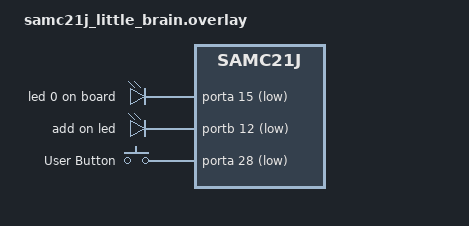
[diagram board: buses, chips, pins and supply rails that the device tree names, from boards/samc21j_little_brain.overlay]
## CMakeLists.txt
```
# SPDX-License-Identifier: Apache-2.0

cmake_minimum_required(VERSION 3.20.0)

list(APPEND BOARD_ROOT ${CMAKE_CURRENT_SOURCE_DIR}/../..)

find_package(Zephyr REQUIRED HINTS $ENV{ZEPHYR_BASE})
project(little_brain)

target_sources(app PRIVATE
    src/main.c
    src/led_utils.c
    src/switch_utils.c
    )
```

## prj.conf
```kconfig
CONFIG_GPIO=y
CONFIG_INPUT=y
CONFIG_LOG=y
```

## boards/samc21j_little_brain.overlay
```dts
/{
	aliases {
		led0 = &led0;
		led1 = &led1;
		sw0 = &sw0;
	};

	leds {
		compatible = "gpio-leds";

		led0: led_0 {
			gpios = <&porta 15 GPIO_ACTIVE_LOW>;
			label = "led 0 on board";
		};

		led1: led_1 {
			gpios = <&portb 12 GPIO_ACTIVE_LOW>;
			label = "add on led";
		};
	};

	buttons {
		compatible = "gpio-keys";

		sw0: button_0 {
			gpios = <&porta 28 (GPIO_PULL_UP | GPIO_ACTIVE_LOW)>;
			label = "User Button";
			zephyr,code = <INPUT_KEY_0>;
		};
	};
};
```

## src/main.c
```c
/*
 * Copyright (c) 2016 Intel Corporation
 *
 * SPDX-License-Identifier: Apache-2.0
 */
#include <stdio.h>
#include <zephyr/drivers/gpio.h>
#include <zephyr/kernel.h>
#include <zephyr/logging/log.h>

LOG_MODULE_REGISTER(main, LOG_LEVEL_DBG);

#define MY_STACK_SIZE 1024
#define PRIORITY 5

#define LED0_SLEEP_MS 500
#define LED1_SLEEP_MS 1000

#define LED0_NODE DT_ALIAS(led0)
#define LED1_NODE DT_ALIAS(led1)

static const struct gpio_dt_spec led0 = GPIO_DT_SPEC_GET(LED0_NODE, gpios);
static const struct gpio_dt_spec led1 = GPIO_DT_SPEC_GET(LED1_NODE, gpios);

static void toggle_led0(void *p1, void *p2, void *p3) {
    ARG_UNUSED(p1);
    ARG_UNUSED(p2);
    ARG_UNUSED(p3);

    if (!gpio_is_ready_dt(&led0)) {
        LOG_ERR("led0 GPIO port not ready");
        return;
    }

    if (gpio_pin_configure_dt(&led0, GPIO_OUTPUT_INACTIVE) < 0) {
        LOG_ERR("failed to configure led0");
        return;
    }

    while (1) {
        gpio_pin_toggle_dt(&led0);
        k_msleep(LED0_SLEEP_MS);
    }
}

static void toggle_led1(void *p1, void *p2, void *p3) {
    ARG_UNUSED(p1);
    ARG_UNUSED(p2);
    ARG_UNUSED(p3);

    if (!gpio_is_ready_dt(&led1)) {
        LOG_ERR("led1 GPIO port not ready");
        return;
    }

    if (gpio_pin_configure_dt(&led1, GPIO_OUTPUT_INACTIVE) < 0) {
        LOG_ERR("failed to configure led1");
        return;
    }

    while (1) {
        gpio_pin_toggle_dt(&led1);
        k_msleep(LED1_SLEEP_MS);
    }
}

K_THREAD_DEFINE(toggle_led0_tid, MY_STACK_SIZE, toggle_led0, NULL, NULL, NULL,
                PRIORITY, 0, 0);

K_THREAD_DEFINE(toggle_led1_tid, MY_STACK_SIZE, toggle_led1, NULL, NULL, NULL,
                PRIORITY, 0, 0);
```

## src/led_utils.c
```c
#include "led_utils.h"

#include <zephyr/drivers/gpio.h>
#include <zephyr/kernel.h>

void led_setup(const struct gpio_dt_spec *led) {
    if (!gpio_is_ready_dt(led)) {
        return;
    }
    gpio_pin_configure_dt(led, GPIO_OUTPUT_INACTIVE);
}

void led_on(const struct gpio_dt_spec *led) {
    gpio_pin_set_dt(led, 1);
}

void led_off(const struct gpio_dt_spec *led) {
    gpio_pin_set_dt(led, 0);
}

void led_toggle(const struct gpio_dt_spec *led) {
    gpio_pin_toggle_dt(led);
}
```

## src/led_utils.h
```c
#ifndef _LED_UTILS_H_
#define _LED_UTILS_H_

#include <zephyr/drivers/gpio.h>

void led_setup(const struct gpio_dt_spec *led);
void led_on(const struct gpio_dt_spec *led);
void led_off(const struct gpio_dt_spec *led);
void led_toggle(const struct gpio_dt_spec *led);

#endif // _LED_UTILS_H_
```

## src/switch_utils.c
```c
#include "switch_utils.h"

#include <zephyr/kernel.h>

void switch_setup(const struct gpio_dt_spec *sw) {
    if (!gpio_is_ready_dt(sw)) {
        return;
    }
    gpio_pin_configure_dt(sw, GPIO_INPUT);
}

bool switch_state(const struct gpio_dt_spec *sw) {
    return gpio_pin_get_dt(sw) ==
           1; /* 1 = pressed (active level from devicetree) */
}
```

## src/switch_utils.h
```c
#ifndef _SWITCH_UTILS_H_
#define _SWITCH_UTILS_H_

#include <stdbool.h>
#include <zephyr/drivers/gpio.h>

void switch_setup(const struct gpio_dt_spec *sw);
bool switch_state(const struct gpio_dt_spec *sw);

#endif // _SWITCH_UTILS_H_
```
